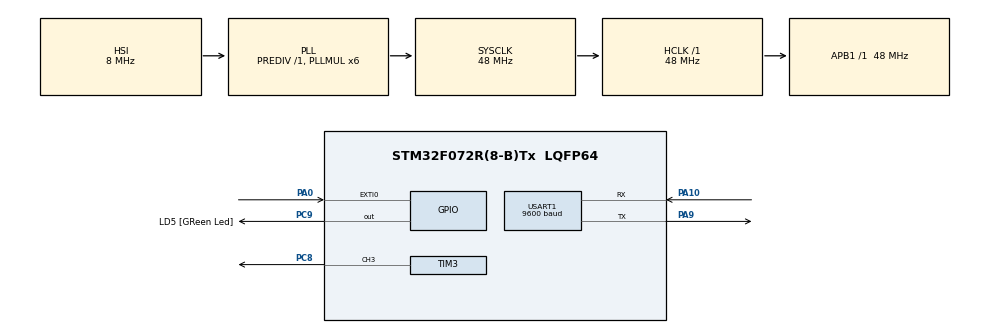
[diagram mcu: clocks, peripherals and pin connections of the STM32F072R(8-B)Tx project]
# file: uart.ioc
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Dma.Request0=USART1_RX
Dma.Request1=USART1_TX
Dma.USART1_RX.0.Direction=DMA_PERIPH_TO_MEMORY
Dma.USART1_RX.0.Instance=DMA1_Channel3
Dma.USART1_RX.0.MemDataAlignment=DMA_MDATAALIGN_BYTE
Dma.USART1_RX.0.MemInc=DMA_MINC_ENABLE
Dma.USART1_RX.0.Mode=DMA_CIRCULAR
Dma.USART1_RX.0.PeriphDataAlignment=DMA_PDATAALIGN_BYTE
Dma.USART1_RX.0.PeriphInc=DMA_PINC_DISABLE
Dma.USART1_RX.0.Priority=DMA_PRIORITY_LOW
Dma.USART1_TX.1.Direction=DMA_MEMORY_TO_PERIPH
Dma.USART1_TX.1.Instance=DMA1_Channel2
Dma.USART1_TX.1.MemDataAlignment=DMA_MDATAALIGN_BYTE
Dma.USART1_TX.1.MemInc=DMA_MINC_ENABLE
Dma.USART1_TX.1.Mode=DMA_CIRCULAR
Dma.USART1_TX.1.PeriphDataAlignment=DMA_PDATAALIGN_BYTE
Dma.USART1_TX.1.PeriphInc=DMA_PINC_DISABLE
Dma.USART1_TX.1.Priority=DMA_PRIORITY_LOW
Mcu.Family=STM32F0
Mcu.Name=STM32F072R(8-B)Tx
Mcu.Package=LQFP64
NVIC.DMA1_Channel2_3_IRQn=true\:0\:0\:false\:false\:true\:false\:true\:true
NVIC.EXTI0_1_IRQn=true\:0\:0\:false\:false\:true\:true\:true\:true
NVIC.TIM16_IRQn=true\:0\:0\:false\:false\:true\:true\:true\:true
NVIC.TIM3_IRQn=true\:0\:0\:false\:false\:true\:true\:true\:true
NVIC.USART1_IRQn=true\:0\:0\:false\:false\:true\:true\:true\:true
PA0.Signal=GPXTI0
PA10.Mode=Asynchronous
PA10.Signal=USART1_RX
PA13.GPIO_Label=SWDIO
PA13.Mode=Serial_Wire
PA13.Signal=SYS_SWDIO
PA14.GPIO_Label=SWCLK
PA14.Mode=Serial_Wire
PA14.Signal=SYS_SWCLK
PA9.Mode=Asynchronous
PA9.Signal=USART1_TX
PC8.Signal=S_TIM3_CH3
PC9.GPIO_Label=LD5 [GReen Led]
PC9.Signal=GPIO_Output
ProjectManager.HeapSize=0x200
ProjectManager.StackSize=0x400
ProjectManager.TargetToolchain=STM32CubeIDE
RCC.AHBFreq_Value=48000000
RCC.APB1Freq_Value=48000000
RCC.APB1TimFreq_Value=48000000
RCC.HCLKFreq_Value=48000000
RCC.PLLMUL=RCC_PLL_MUL6
RCC.SYSCLKFreq_VALUE=48000000
RCC.SYSCLKSource=RCC_SYSCLKSOURCE_PLLCLK
SH.S_TIM3_CH3.0=TIM3_CH3,PWM Generation3 CH3
TIM16.Period=999
TIM16.Prescaler=47999
TIM16.RepetitionCounter=1
TIM3.Channel-PWM\ Generation3\ CH3=TIM_CHANNEL_3
TIM3.Period=999
TIM3.Prescaler=199
USART1.BaudRate=9600
USART1.VirtualMode-Asynchronous=VM_ASYNC
VP_TIM16_VS_ClockSourceINT.Mode=Enable_Timer
VP_TIM3_VS_ClockSourceINT.Mode=Internal
board=STM32F072B-DISCO

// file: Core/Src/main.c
/* USER CODE BEGIN Header */
/**
 ******************************************************************************
 * @file           : main.c
 * @brief          : Main program body
 ******************************************************************************
 * @attention
 *
 * Copyright (c) 2024 STMicroelectronics.
 * All rights reserved.
 *
 * This software is licensed under terms that can be found in the LICENSE file
 * in the root directory of this software component.
 * If no LICENSE file comes with this software, it is provided AS-IS.
 *
 ******************************************************************************
 */
/* USER CODE END Header */
#include "main.h"

/* USER CODE BEGIN Includes */
#include <stdbool.h>
#include <stdlib.h>
#include <string.h>
#include <stdio.h>

#include "uart.h"
/* USER CODE END Includes */

/* USER CODE BEGIN PD */
#define PWM_START_PULSE 0
#define PWM_STOP_PULSE 1000
#define LD5_ON "ld5_on\r\n"
#define LD5_OFF "ld5_off\r\n"
#define PWM_LD4_ON "pwm_ld4_on\r\n"
#define PWM_LD4_OFF "pwm_ld4_off\r\n"
#define BUFF_SIZE 20
#define RX_DMA_SIZE 256
#define TX_DMA_SIZE 256
#define FINAL_BUFF_SIZE 1024
#define START_BUFF_SIZE 1024
/* USER CODE END PD */

TIM_HandleTypeDef htim3;
TIM_HandleTypeDef htim16;

UART_HandleTypeDef huart1;
DMA_HandleTypeDef hdma_usart1_rx;
DMA_HandleTypeDef hdma_usart1_tx;

void SystemClock_Config(void);
static void MX_GPIO_Init(void);
static void MX_DMA_Init(void);
static void MX_TIM16_Init(void);
static void MX_TIM3_Init(void);
static void MX_USART1_UART_Init(void);
/* USER CODE BEGIN PFP */
static void turn_on_LD5(void);
static void turn_off_LD5(void);
static void turn_on__PWM_LD4(uint16_t*);
static void turn_off__PWM_LD4(uint16_t*);
/* USER CODE END PFP */

/* USER CODE BEGIN 0 */
volatile bool is_tim16_period_elapsed = false;
volatile bool is_tim3_period_elapsed = false;
/* Update Event (ARR overflow) (UEV) */
void HAL_TIM_PeriodElapsedCallback(TIM_HandleTypeDef *htim) {

	if (htim->Instance == TIM16) {
		is_tim16_period_elapsed = true;
	}

	if (htim->Instance == TIM3) {
		is_tim3_period_elapsed = true;
	}

}

void turn_on_LD5(void) {
	is_tim16_period_elapsed = false;
	HAL_TIM_Base_Start_IT(&htim16);

	while (!is_tim16_period_elapsed) {
	}
	HAL_GPIO_WritePin(GPIOC, GPIO_PIN_9, GPIO_PIN_SET);
	is_tim16_period_elapsed = false;

	HAL_TIM_Base_Stop_IT(&htim16);
}

void turn_off_LD5(void) {
	is_tim16_period_elapsed = false;
	HAL_GPIO_WritePin(GPIOC, GPIO_PIN_9, GPIO_PIN_SET);
	HAL_TIM_Base_Start_IT(&htim16);

	while (!is_tim16_period_elapsed) {
	}
	HAL_GPIO_WritePin(GPIOC, GPIO_PIN_9, GPIO_PIN_RESET);
	is_tim16_period_elapsed = false;

	HAL_TIM_Base_Stop_IT(&htim16);
}

void turn_on__PWM_LD4(uint16_t *pulse) {
	HAL_TIM_Base_Start_IT(&htim3);

	while (*pulse < PWM_STOP_PULSE) {
		while (!is_tim3_period_elapsed) {
		}
		(*pulse)++;
		TIM3->CCR3 = *pulse;
		is_tim3_period_elapsed = false;

	}
	HAL_TIM_Base_Stop_IT(&htim3);
}

void turn_off__PWM_LD4(uint16_t *pulse) {
	HAL_TIM_Base_Start_IT(&htim3);

	while (*pulse > PWM_START_PULSE) {
		while (!is_tim3_period_elapsed) {
		}

		(*pulse)--;
		TIM3->CCR3 = *pulse;
		is_tim3_period_elapsed = false;

	}
	HAL_TIM_Base_Stop_IT(&htim3);
}

char rx_dma[RX_DMA_SIZE];
char tx_dma[TX_DMA_SIZE];
char final_buff[FINAL_BUFF_SIZE];
char start_buff[START_BUFF_SIZE];

/* USER CODE END 0 */

int main(void) {

	/* USER CODE BEGIN 1 */

	/* Коэффициент заполнения, Pulse, TIM3->CCR3 */
	static uint16_t pulse = 0;

	char rx_buff[BUFF_SIZE] = { ' ', };

	/* USER CODE END 1 */

	/* MCU Configuration--------------------------------------------------------*/

	/* Reset of all peripherals, Initializes the Flash interface and the Systick. */
	HAL_Init();

	/* Configure the system clock */
	SystemClock_Config();

	/* Initialize all configured peripherals */
	MX_GPIO_Init();
	MX_DMA_Init();
	MX_TIM16_Init();
	MX_TIM3_Init();
	MX_USART1_UART_Init();
	/* USER CODE BEGIN 2 */
//	init_uart_1();
	HAL_TIM_PWM_Start(&htim3, TIM_CHANNEL_3);

	/* USER CODE END 2 */

	/* Infinite loop */
	while (1) {

		/* USER CODE BEGIN 3 */

		 receive_data_from_uart(rx_buff);

		 if (strcmp(rx_buff, LD5_ON) == 0) {
		 turn_on_LD5();
		 }

		 if (strcmp(rx_buff, LD5_OFF) == 0) {
		 turn_off_LD5();
		 }

		 if (strcmp(rx_buff, PWM_LD4_ON) == 0) {
		 turn_on__PWM_LD4(&pulse);
		 }

		 if (strcmp(rx_buff, PWM_LD4_OFF) == 0) {
		 turn_off__PWM_LD4(&pulse);
		 }

		 transmit_data_to_uart(rx_buff);

	}

	/* USER CODE END 3 */
}

void SystemClock_Config(void) {
	RCC_OscInitTypeDef RCC_OscInitStruct = { 0 };
	RCC_ClkInitTypeDef RCC_ClkInitStruct = { 0 };
	RCC_PeriphCLKInitTypeDef PeriphClkInit = { 0 };

	/** Initializes the RCC Oscillators according to the specified parameters
	 * in the RCC_OscInitTypeDef structure.
	 */
	RCC_OscInitStruct.OscillatorType = RCC_OSCILLATORTYPE_HSI;
	RCC_OscInitStruct.HSIState = RCC_HSI_ON;
	RCC_OscInitStruct.HSICalibrationValue = RCC_HSICALIBRATION_DEFAULT;
	RCC_OscInitStruct.PLL.PLLState = RCC_PLL_ON;
	RCC_OscInitStruct.PLL.PLLSource = RCC_PLLSOURCE_HSI;
	RCC_OscInitStruct.PLL.PLLMUL = RCC_PLL_MUL6;
	RCC_OscInitStruct.PLL.PREDIV = RCC_PREDIV_DIV1;
	if (HAL_RCC_OscConfig(&RCC_OscInitStruct) != HAL_OK) {
		Error_Handler();
	}

	/** Initializes the CPU, AHB and APB buses clocks
	 */
	RCC_ClkInitStruct.ClockType = RCC_CLOCKTYPE_HCLK | RCC_CLOCKTYPE_SYSCLK
			| RCC_CLOCKTYPE_PCLK1;
	RCC_ClkInitStruct.SYSCLKSource = RCC_SYSCLKSOURCE_PLLCLK;
	RCC_ClkInitStruct.AHBCLKDivider = RCC_SYSCLK_DIV1;
	RCC_ClkInitStruct.APB1CLKDivider = RCC_HCLK_DIV1;

	if (HAL_RCC_ClockConfig(&RCC_ClkInitStruct, FLASH_LATENCY_1) != HAL_OK) {
		Error_Handler();
	}
	PeriphClkInit.PeriphClockSelection = RCC_PERIPHCLK_USART1;
	PeriphClkInit.Usart1ClockSelection = RCC_USART1CLKSOURCE_PCLK1;
	if (HAL_RCCEx_PeriphCLKConfig(&PeriphClkInit) != HAL_OK) {
		Error_Handler();
	}
}

static void MX_TIM3_Init(void) {

	TIM_ClockConfigTypeDef sClockSourceConfig = { 0 };
	TIM_MasterConfigTypeDef sMasterConfig = { 0 };
	TIM_OC_InitTypeDef sConfigOC = { 0 };

	htim3.Instance = TIM3;
	htim3.Init.Prescaler = 199;
	htim3.Init.CounterMode = TIM_COUNTERMODE_UP;
	htim3.Init.Period = 999;
	htim3.Init.ClockDivision = TIM_CLOCKDIVISION_DIV1;
	htim3.Init.AutoReloadPreload = TIM_AUTORELOAD_PRELOAD_DISABLE;
	if (HAL_TIM_Base_Init(&htim3) != HAL_OK) {
		Error_Handler();
	}
	sClockSourceConfig.ClockSource = TIM_CLOCKSOURCE_INTERNAL;
	if (HAL_TIM_ConfigClockSource(&htim3, &sClockSourceConfig) != HAL_OK) {
		Error_Handler();
	}
	if (HAL_TIM_PWM_Init(&htim3) != HAL_OK) {
		Error_Handler();
	}
	sMasterConfig.MasterOutputTrigger = TIM_TRGO_RESET;
	sMasterConfig.MasterSlaveMode = TIM_MASTERSLAVEMODE_DISABLE;
	if (HAL_TIMEx_MasterConfigSynchronization(&htim3, &sMasterConfig)
			!= HAL_OK) {
		Error_Handler();
	}
	sConfigOC.OCMode = TIM_OCMODE_PWM1;
	sConfigOC.Pulse = 0;
	sConfigOC.OCPolarity = TIM_OCPOLARITY_HIGH;
	sConfigOC.OCFastMode = TIM_OCFAST_DISABLE;
	if (HAL_TIM_PWM_ConfigChannel(&htim3, &sConfigOC, TIM_CHANNEL_3)
			!= HAL_OK) {
		Error_Handler();
	}
	/* USER CODE BEGIN TIM3_Init 2 */
	__HAL_RCC_TIM3_CLK_ENABLE();

	HAL_NVIC_SetPriority(TIM3_IRQn, 2, 0);
	HAL_NVIC_EnableIRQ(TIM3_IRQn);
	/* USER CODE END TIM3_Init 2 */
	HAL_TIM_MspPostInit(&htim3);

}

static void MX_TIM16_Init(void) {

	htim16.Instance = TIM16;
	htim16.Init.Prescaler = 47999;
	htim16.Init.CounterMode = TIM_COUNTERMODE_UP;
	htim16.Init.Period = 999;
	htim16.Init.ClockDivision = TIM_CLOCKDIVISION_DIV1;
	htim16.Init.RepetitionCounter = 1;
	htim16.Init.AutoReloadPreload = TIM_AUTORELOAD_PRELOAD_DISABLE;
	if (HAL_TIM_Base_Init(&htim16) != HAL_OK) {
		Error_Handler();
	}
	/* USER CODE BEGIN TIM16_Init 2 */
	__HAL_RCC_TIM16_CLK_ENABLE();

	HAL_NVIC_SetPriority(TIM16_IRQn, 1, 0);
	HAL_NVIC_EnableIRQ(TIM16_IRQn);

	HAL_TIM_Base_Init(&htim16);
	/* USER CODE END TIM16_Init 2 */

}

static void MX_USART1_UART_Init(void) {

	/* USER CODE BEGIN USART1_Init 0 */
////
	/* USER CODE END USART1_Init 0 */

	/* USER CODE BEGIN USART1_Init 1 */
////
	/* USER CODE END USART1_Init 1 */
	huart1.Instance = USART1;
	huart1.Init.BaudRate = 9600;
	huart1.Init.WordLength = UART_WORDLENGTH_8B;
	huart1.Init.StopBits = UART_STOPBITS_1;
	huart1.Init.Parity = UART_PARITY_NONE;
	huart1.Init.Mode = UART_MODE_TX_RX;
	huart1.Init.HwFlowCtl = UART_HWCONTROL_NONE;
	huart1.Init.OverSampling = UART_OVERSAMPLING_16;
	huart1.Init.OneBitSampling = UART_ONE_BIT_SAMPLE_DISABLE;
	huart1.AdvancedInit.AdvFeatureInit = UART_ADVFEATURE_NO_INIT;
	if (HAL_UART_Init(&huart1) != HAL_OK) {
		Error_Handler();
	}
	/* USER CODE BEGIN USART1_Init 2 */
////
	/* USER CODE END USART1_Init 2 */

}

static void MX_DMA_Init(void) {

	/* DMA controller clock enable */
	__HAL_RCC_DMA1_CLK_ENABLE();

	/* DMA interrupt init */
	/* DMA1_Channel2_3_IRQn interrupt configuration */
	HAL_NVIC_SetPriority(DMA1_Channel2_3_IRQn, 0, 0);
	HAL_NVIC_EnableIRQ(DMA1_Channel2_3_IRQn);

}

static void MX_GPIO_Init(void) {
	GPIO_InitTypeDef GPIO_InitStruct = { 0 };

	/* GPIO Ports Clock Enable */
	__HAL_RCC_GPIOA_CLK_ENABLE();
	__HAL_RCC_GPIOC_CLK_ENABLE();

	/*Configure GPIO pin Output Level */
	HAL_GPIO_WritePin(LD5_GPIO_Port, LD5_Pin, GPIO_PIN_RESET);

	/*Configure GPIO pin : PA0 */
	GPIO_InitStruct.Pin = GPIO_PIN_0;
	GPIO_InitStruct.Mode = GPIO_MODE_IT_RISING;
	GPIO_InitStruct.Pull = GPIO_NOPULL;
	HAL_GPIO_Init(GPIOA, &GPIO_InitStruct);

	/*Configure GPIO pin : LD5_Pin */
	GPIO_InitStruct.Pin = LD5_Pin;
	GPIO_InitStruct.Mode = GPIO_MODE_OUTPUT_PP;
	GPIO_InitStruct.Pull = GPIO_NOPULL;
	GPIO_InitStruct.Speed = GPIO_SPEED_FREQ_LOW;
	HAL_GPIO_Init(LD5_GPIO_Port, &GPIO_InitStruct);

	/* EXTI interrupt init*/
	HAL_NVIC_SetPriority(EXTI0_1_IRQn, 0, 0);
	HAL_NVIC_EnableIRQ(EXTI0_1_IRQn);

}

void Error_Handler(void) {
	__disable_irq();
	while (1) {
	}
}
